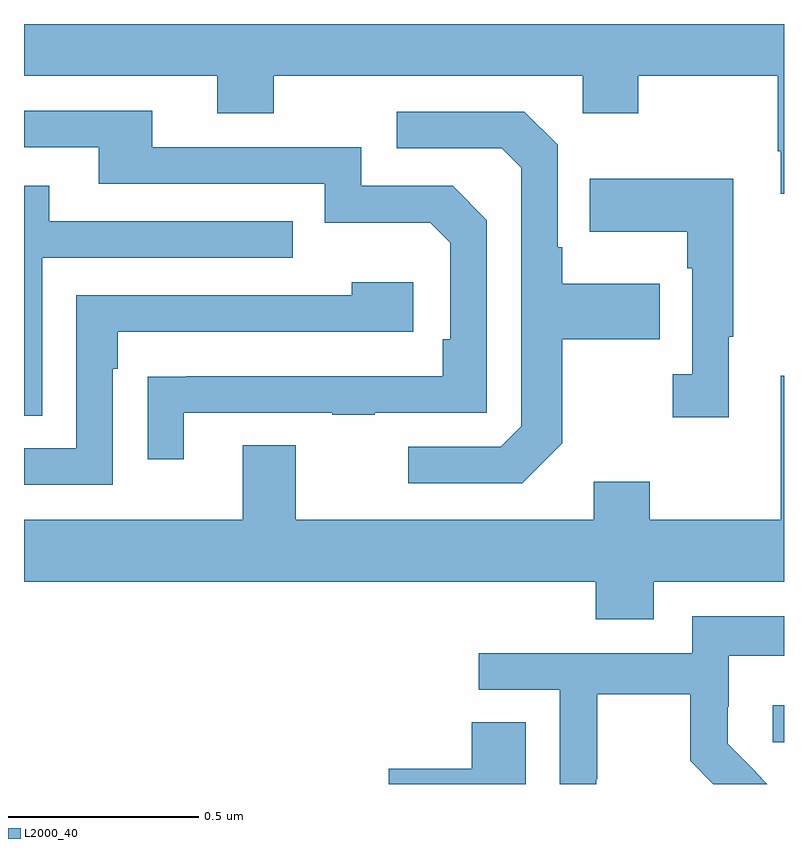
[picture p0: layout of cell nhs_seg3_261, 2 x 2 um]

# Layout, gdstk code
import gdstk
lib = gdstk.Library(unit=1e-6, precision=1e-09)
def R(c, l, rs):  # rectangles x0, y0, x1, y1
    for r in rs: c.add(gdstk.rectangle(r[:2], r[2:], *l))
def P(c, l, *ps):  # polygons
    for p in ps: c.add(gdstk.Polygon(p, *l))
L2000_40 = (2000, 40)

nhs_seg3_261 = lib.new_cell('nhs_seg3_261')
R(nhs_seg3_261, L2000_40, [(115.971,684.51,116,684.607)])
P(nhs_seg3_261, L2000_40, [(116,686.4),(114,686.4),(114,686.264),(114.509,686.264),(114.509,686.165),(114.657,686.165),(114.657,686.264),(115.47,686.264),(115.47,686.165),(115.617,686.165),(115.617,686.264),(115.984,686.264),(115.984,686.065),(115.991,686.065),(115.991,685.953),(116,685.953)],
  [(114.421,685.377),(114.811,685.377),(114.811,685.372),(114.923,685.372),(114.923,685.377),(115.218,685.377),(115.218,685.884),(115.128,685.974),(114.888,685.974),(114.888,686.076),(114.337,686.076),(114.337,686.172),(114,686.172),(114,686.076),(114.197,686.076),(114.197,685.98),(114.792,685.98),(114.792,685.877),(115.069,685.877),(115.122,685.824),(115.122,685.57),(115.102,685.57),(115.102,685.473),(114.427,685.473),(114.427,685.472),(114.325,685.472),(114.325,685.254),(114.421,685.254)],
  [(115.417,685.297),(115.417,685.57),(115.673,685.57),(115.673,685.717),(115.417,685.717),(115.417,685.813),(115.404,685.813),(115.404,686.082),(115.317,686.169),(114.981,686.169),(114.981,686.073),(115.257,686.073),(115.308,686.022),(115.308,685.341),(115.254,685.287),(115.011,685.287),(115.011,685.191),(115.311,685.191)],
  [(115.855,685.577),(115.867,685.577),(115.867,685.993),(115.489,685.993),(115.489,685.853),(115.746,685.853),(115.746,685.757),(115.758,685.757),(115.758,685.478),(115.707,685.478),(115.707,685.365),(115.855,685.365)],
  [(114.048,685.785),(114.707,685.785),(114.707,685.881),(114.067,685.881),(114.067,685.975),(114,685.975),(114,685.369),(114.048,685.369)],
  [(114.234,685.493),(114.247,685.493),(114.247,685.59),(115.024,685.59),(115.024,685.72),(114.863,685.72),(114.863,685.686),(114.138,685.686),(114.138,685.284),(114,685.284),(114,685.188),(114.234,685.188)],
  [(115.657,684.932),(116,684.932),(116,685.474),(115.991,685.474),(115.991,685.096),(115.647,685.096),(115.647,685.195),(115.499,685.195),(115.499,685.096),(114.715,685.096),(114.715,685.291),(114.575,685.291),(114.575,685.096),(114,685.096),(114,684.932),(115.505,684.932),(115.505,684.833),(115.657,684.833)],
  [(115.506,684.412),(115.509,684.412),(115.509,684.636),(115.753,684.636),(115.753,684.461),(115.814,684.4),(115.956,684.4),(115.925,684.431),(115.926,684.432),(115.852,684.506),(115.852,684.603),(115.854,684.603),(115.854,684.737),(116,684.737),(116,684.841),(115.758,684.841),(115.758,684.744),(115.197,684.744),(115.197,684.648),(115.41,684.648),(115.41,684.4),(115.506,684.4)],
  [(115.321,684.563),(115.178,684.563),(115.178,684.44),(114.96,684.44),(114.96,684.4),(115.321,684.4)])

lib.write_gds('nhs_seg3_261.gds')
